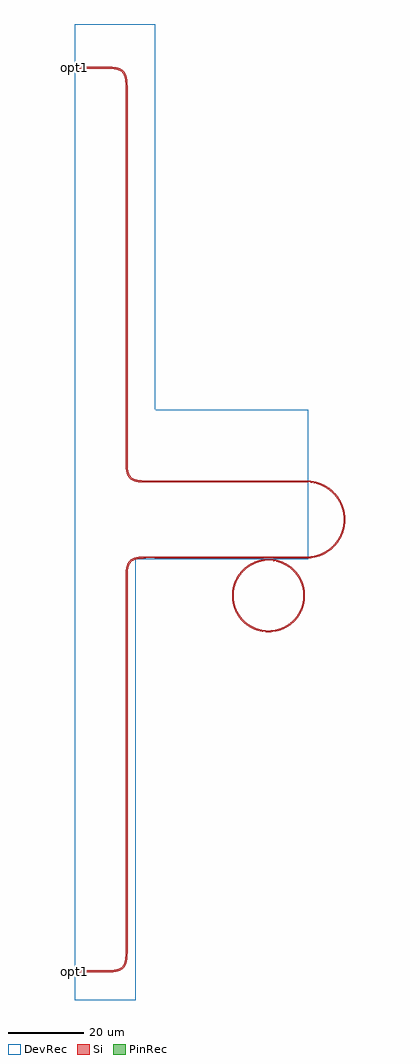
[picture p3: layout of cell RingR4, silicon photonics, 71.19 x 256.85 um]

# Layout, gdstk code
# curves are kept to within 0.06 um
import gdstk
lib = gdstk.Library(unit=1e-6, precision=1e-09)
def R(c, l, rs):  # rectangles x0, y0, x1, y1
    for r in rs: c.add(gdstk.rectangle(r[:2], r[2:], *l))
def P(c, l, *ps):  # polygons
    for p in ps: c.add(gdstk.Polygon(p, *l))
Si = (1, 0)
PinRec = (1, 10)
DevRec = (68, 0)

ringr4 = lib.new_cell('RingR4')
R(ringr4, Si, [(40.991,116.243,61.246,116.643), (40.991,136.243,61.131,136.643)])
P(ringr4, Si, [(18.639,136.193),(17.21,136.249),(16.192,136.401),(15.344,136.674),(14.658,137.092),(14.132,137.672),(13.766,138.411),(13.537,139.313),(13.419,140.394),(13.392,240.326),(13.254,242.371),(13.002,243.308),(12.607,243.994),(11.945,244.536),(11.121,244.848),(10.201,245.005),(9.069,245.072),(0.01,245.076),(0.01,245.576),(9.079,245.572),(11.091,245.369),(12.185,244.974),(12.908,244.409),(13.411,243.624),(13.746,242.457),(13.892,240.329),(13.909,140.614),(14.057,139.247),(14.328,138.35),(14.745,137.697),(15.338,137.234),(16.162,136.922),(17.256,136.747),(20.991,136.693),(20.991,136.193)],
  [(0.01,7.31),(0.01,7.81),(9.069,7.814),(10.983,8.005),(11.945,8.35),(12.538,8.813),(12.955,9.466),(13.226,10.363),(13.353,11.353),(13.392,12.56),(13.432,112.685),(13.599,113.892),(13.931,114.865),(14.465,115.62),(15.098,116.09),(15.891,116.408),(17.028,116.619),(20.991,116.693),(20.991,116.193),(17.256,116.139),(16.162,115.964),(15.338,115.652),(14.745,115.189),(14.328,114.536),(14.087,113.784),(13.93,112.649),(13.892,12.557),(13.851,11.317),(13.716,10.267),(13.352,9.137),(12.819,8.383),(12.064,7.849),(11.091,7.517),(9.079,7.314)],
  [(46.386,97.988),(45.496,98.538),(44.701,99.158),(45.336,99.158),(46.156,98.583),(47.296,97.988)],
  [(44.701,99.158),(43.616,100.263),(42.736,101.513),(43.206,101.513),(43.626,100.898),(44.176,100.228),(45.336,99.158)],
  [(42.736,101.513),(42.231,102.478),(41.776,103.713),(41.521,104.828),(41.391,106.223),(41.791,106.223),(41.881,105.118),(42.151,103.858),(42.596,102.643),(43.206,101.513)],
  [(50.801,96.813),(50.801,97.213),(51.551,97.228),(52.541,97.343),(53.546,97.573),(54.701,97.993),(55.601,97.993),(54.481,97.468),(53.301,97.093),(52.076,96.873)],
  [(54.701,97.993),(55.701,98.508),(56.661,99.173),(57.291,99.173),(56.556,98.588),(55.601,97.993)],
  [(56.661,99.173),(57.316,99.728),(57.881,100.313),(58.776,101.513),(59.246,101.513),(58.586,100.538),(57.591,99.438),(57.291,99.173)],
  [(64.981,135.393),(64.026,135.763),(63.131,136.008),(62.081,136.183),(61.131,136.243),(61.131,136.643),(62.621,136.513),(64.116,136.153),(65.026,135.813),(65.886,135.393)],
  [(67.046,134.148),(66.141,134.783),(64.981,135.393),(65.886,135.393),(66.351,135.123),(67.031,134.663),(67.671,134.148)],
  [(58.776,101.513),(59.326,102.513),(59.836,103.873),(60.121,105.263),(60.191,106.223),(60.591,106.223),(60.441,104.713),(60.001,103.093),(59.631,102.223),(59.246,101.513)],
  [(41.391,106.223),(41.431,107.313),(41.541,108.113),(41.936,109.608),(42.616,111.108),(43.081,111.108),(42.526,110.023),(42.096,108.768),(41.861,107.563),(41.791,106.223)],
  [(42.616,111.108),(43.396,112.288),(44.271,113.273),(44.346,113.338),(44.931,113.338),(43.996,112.393),(43.481,111.733),(43.081,111.108)],
  [(44.346,113.338),(45.156,114.038),(46.076,114.663),(47.056,115.173),(48.166,115.588),(48.166,115.168),(47.221,114.808),(46.506,114.448),(45.661,113.913),(44.931,113.338)],
  [(48.166,115.168),(48.166,115.588),(49.211,115.848),(50.211,115.983),(51.191,116.013),(51.991,115.963),(53.021,115.798),(53.736,115.613),(50.176,115.578),(49.221,115.443)],
  [(60.191,106.223),(60.131,107.483),(59.891,108.753),(59.486,109.948),(59.006,110.928),(59.466,110.928),(59.996,109.748),(60.311,108.723),(60.531,107.498),(60.591,106.223)],
  [(59.006,110.928),(58.201,112.133),(57.676,112.738),(57.136,113.258),(57.721,113.258),(58.451,112.458),(58.951,111.783),(59.466,110.928)],
  [(57.136,113.258),(56.441,113.828),(55.826,114.243),(55.266,114.563),(54.381,114.968),(53.531,115.258),(52.811,115.433),(52.011,115.558),(51.181,115.613),(53.736,115.613),(54.621,115.303),(55.921,114.653),(56.486,114.288),(57.206,113.733),(57.721,113.258)],
  [(61.246,116.243),(61.246,116.643),(62.541,116.763),(63.581,116.988),(64.586,117.323),(65.556,117.773),(65.556,117.318),(64.431,116.838),(62.886,116.418)],
  [(65.556,117.318),(65.556,117.773),(66.671,118.453),(67.776,119.368),(68.681,120.363),(69.421,121.443),(69.881,121.443),(68.906,120.003),(67.926,118.958),(66.961,118.168)],
  [(69.421,121.443),(70.021,122.628),(70.476,123.968),(70.716,125.218),(70.791,126.638),(71.191,126.638),(71.161,125.628),(71.056,124.778),(70.636,123.118),(70.276,122.213),(69.881,121.443)],
  [(70.791,126.638),(70.681,127.923),(70.416,129.133),(69.946,130.428),(69.301,131.633),(69.791,131.603),(70.326,130.558),(70.741,129.448),(71.071,128.018),(71.191,126.638)],
  [(69.301,131.633),(68.341,132.928),(67.716,133.573),(67.046,134.148),(67.671,134.148),(68.641,133.193),(69.201,132.498),(69.771,131.633)],
  [(20.991,136.193),(20.991,136.693),(40.991,136.643),(40.991,136.243)],
  [(20.991,116.193),(20.991,116.693),(40.991,116.643),(40.991,116.243)],
  [(50.791,96.813),(49.856,96.878),(48.601,97.113),(47.361,97.523),(46.386,97.988),(47.296,97.988),(48.111,97.673),(48.981,97.433),(49.841,97.283),(50.801,97.213)])
P(ringr4, DevRec, [(0.01,0),(0.01,256.845),(21.206,256.845),(21.206,155.303),(61.391,155.303),(61.391,115.928),(16.029,115.928),(16.029,0)])
ringr4.add(gdstk.FlexPath([(0.02,245.326),(0,245.326)], 0.5, ends="flush", simple_path=True, layer=1, datatype=10))  # PinRec
ringr4.add(gdstk.FlexPath([(0.02,7.56),(0,7.56)], 0.5, ends="flush", simple_path=True, layer=1, datatype=10))  # PinRec
ringr4.add(gdstk.Label('opt1', (0.01,245.326), layer=1, texttype=10))
ringr4.add(gdstk.Label('opt1', (0.01,7.56), layer=1, texttype=10))
ringr4.add(gdstk.Label('Lumerical_INTERCONNECT_library=Design kits/EBeam', (0.01,245.226), layer=68, texttype=0))
ringr4.add(gdstk.Label('Component=ebeam_wg_integral_1550', (0.01,245.426), layer=68, texttype=0))
ringr4.add(gdstk.Label('cellName=Waveguide', (0.01,245.526), layer=68, texttype=0))
ringr4.add(gdstk.Label('Spice_param:wg_length=0.000126761 wg_width=5e-07 points="[[63.521,-793.963],[77.153,-793.963],[77.153,-902.846],[84.502,-902.846]]" radius=5e-06', (0.01,245.326), layer=68, texttype=0))
ringr4.add(gdstk.Label('Length=126.761 (microns)', (0.01,244.726), layer=68, texttype=0))
ringr4.add(gdstk.Label('waveguide_type=Strip TE 1550 nm, w=500 nm', (0.01,245.126), layer=68, texttype=0))
ringr4.add(gdstk.Label('Lumerical_INTERCONNECT_library=Design kits/EBeam', (0.01,7.46), layer=68, texttype=0))
ringr4.add(gdstk.Label('Component=ebeam_wg_integral_1550', (0.01,7.66), layer=68, texttype=0))
ringr4.add(gdstk.Label('cellName=Waveguide', (0.01,7.76), layer=68, texttype=0))
ringr4.add(gdstk.Label('waveguide_type=Strip TE 1550 nm, w=500 nm', (0.01,7.36), layer=68, texttype=0))

lib.write_gds('RingR4.gds')
